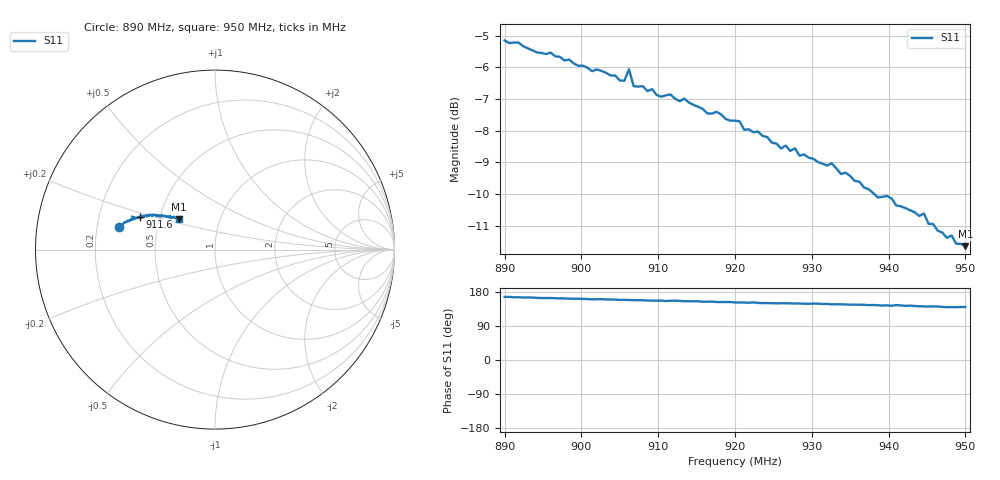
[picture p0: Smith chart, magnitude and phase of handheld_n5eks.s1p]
# HZ S RI R 50
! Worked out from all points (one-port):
!   101 points, 890 MHz to 950 MHz, reference 50 ohm
!   lowest |S11| = -11.7 dB at 950 MHz (marker M1), VSWR 1.71, Z = 31.7 + j11.5 ohm
!   |S11| at or under -10 dB: 938.1 MHz to end of sweep
!   S11 on the Smith chart (normalised r, x): 890 MHz: 0.29, +0.11; 911.6 MHz: 0.39, +0.18; 950 MHz: 0.63, +0.23
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8.9e8  -0.5375 0.1284
8.978e8  -0.4899 0.1548
9.05e8  -0.4449 0.1742
9.056e8  -0.4449 0.1731
9.062e8  -0.4625 0.1838
9.068e8  -0.4342 0.1743
9.092e8  -0.4255 0.1825
9.098e8  -0.4155 0.181
9.11e8  -0.4118 0.1879
9.116e8  -0.4161 0.1817
9.128e8  -0.4044 0.1811
9.134e8  -0.4057 0.1883
9.164e8  -0.3802 0.1872
9.2e8  -0.364 0.1946
9.26e8  -0.3226 0.1873
9.278e8  -0.32 0.1921
9.284e8  -0.3122 0.186
9.326e8  -0.296 0.1933
9.338e8  -0.2852 0.1851
9.35e8  -0.2794 0.1892
9.386e8  -0.254 0.1815
9.398e8  -0.2548 0.1833
9.404e8  -0.2485 0.1868
9.41e8  -0.248 0.1742
9.428e8  -0.2395 0.1772
9.446e8  -0.2301 0.1837
9.452e8  -0.2209 0.1778
9.5e8  -0.1997 0.1687
